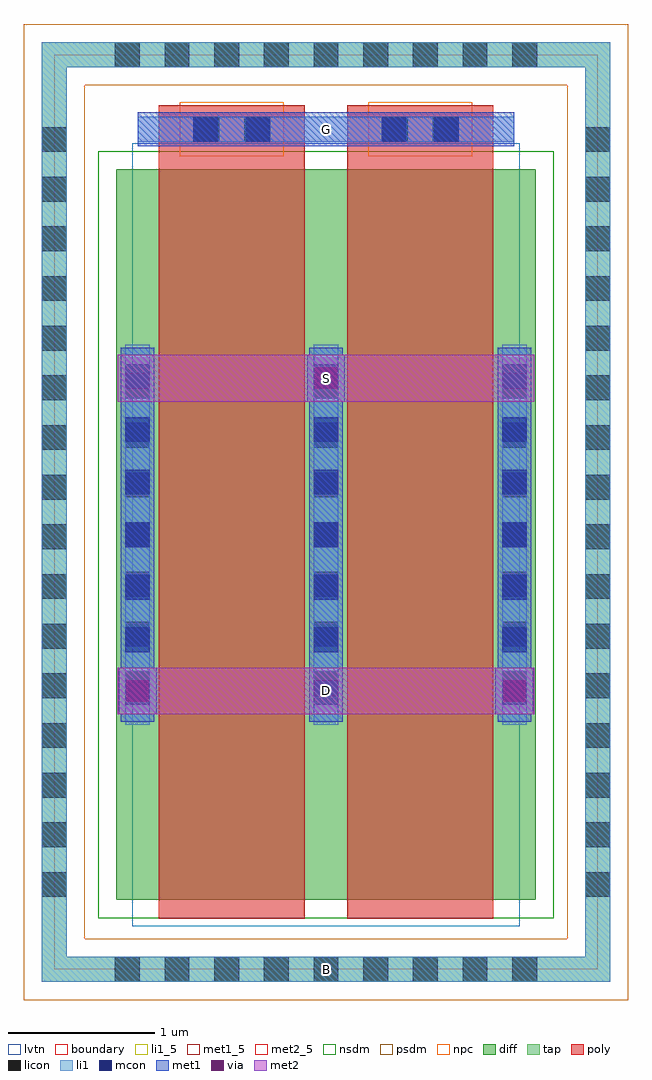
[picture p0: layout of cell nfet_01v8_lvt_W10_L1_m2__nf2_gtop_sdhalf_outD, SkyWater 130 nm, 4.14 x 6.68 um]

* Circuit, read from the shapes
.subckt nfet_01v8_lvt_W10_L1_m2__nf2_gtop_sdhalf_outD B D G S
XM1 S G D B sky130_fd_pr__nfet_01v8_lvt w=5 l=1 m=2
.ends

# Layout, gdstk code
import gdstk
lib = gdstk.Library(unit=1e-6, precision=1e-09)
def R(c, l, rs):  # rectangles x0, y0, x1, y1
    for r in rs: c.add(gdstk.rectangle(r[:2], r[2:], *l))
def A(c, l, x, y, w, h, nx, ny, dx, dy):  # array of equal rectangles
    R(c, l, [(x+i*dx, y+j*dy, x+i*dx+w, y+j*dy+h) for i in range(nx) for j in range(ny)])
diff = (65, 20)
tap = (65, 44)
poly = (66, 20)
licon = (66, 44)
li1_5 = (67, 5)
li1 = (67, 20)
mcon = (67, 44)
met1_5 = (68, 5)
met1 = (68, 20)
via = (68, 44)
met2_5 = (69, 5)
met2 = (69, 20)
nsdm = (93, 44)
psdm = (94, 20)
npc = (95, 20)
lvtn = (125, 44)
boundary = (235, 4)

sky130_fd_pr__nfet_01v8_ = lib.new_cell('sky130_fd_pr__nfet_01v8_lvt_NQ5HXU')
R(sky130_fd_pr__nfet_01v8_, diff, [(-1.435,-2.655,1.435,2.345)])
R(sky130_fd_pr__nfet_01v8_, tap, [(-1.945,-3.215,1.945,-3.045), (-1.945,-3.045,-1.775,3.045), (1.775,-3.045,1.945,3.045), (-1.945,3.045,1.945,3.215)])
R(sky130_fd_pr__nfet_01v8_, poly, [(-1.145,-2.785,-0.145,2.785), (0.145,-2.785,1.145,2.785)])
A(sky130_fd_pr__nfet_01v8_, licon, -1.445, -3.215, 0.17, 0.17, 9, 2, 0.34, 6.26)
A(sky130_fd_pr__nfet_01v8_, licon, -1.945, -2.635, 0.17, 0.17, 1, 16, 0, 0.34)
A(sky130_fd_pr__nfet_01v8_, licon, 1.775, -2.635, 0.17, 0.17, 1, 16, 0, 0.34)
A(sky130_fd_pr__nfet_01v8_, licon, -1.375, -1.26, 0.17, 0.17, 3, 7, 1.29, 0.34)
R(sky130_fd_pr__nfet_01v8_, licon, [(-0.9,2.535,-0.73,2.705), (-0.56,2.535,-0.39,2.705), (0.39,2.535,0.56,2.705), (0.73,2.535,0.9,2.705)])
A(sky130_fd_pr__nfet_01v8_, li1, -1.375, -1.455, 0.17, 2.6, 3, 1, 1.29, 0)
R(sky130_fd_pr__nfet_01v8_, li1, [(-1.945,-3.215,1.945,-3.045), (-1.945,-3.045,-1.775,3.045), (1.775,-3.045,1.945,3.045), (-1.29,2.535,1.29,2.705), (-1.945,3.045,1.945,3.215)])
A(sky130_fd_pr__nfet_01v8_, mcon, -1.375, -1.32, 0.17, 0.17, 3, 7, 1.29, 0.36)
R(sky130_fd_pr__nfet_01v8_, mcon, [(-0.91,2.535,-0.74,2.705), (-0.55,2.535,-0.38,2.705), (0.38,2.535,0.55,2.705), (0.74,2.535,0.91,2.705)])
A(sky130_fd_pr__nfet_01v8_, met1, -1.405, -1.435, 0.23, 2.56, 3, 1, 1.29, 0)
R(sky130_fd_pr__nfet_01v8_, met1, [(-1.125,2.505,-0.165,2.535), (0.165,2.505,1.125,2.535), (-1.29,2.535,1.29,2.705), (-1.125,2.705,-0.165,2.735), (0.165,2.705,1.125,2.735)])
R(sky130_fd_pr__nfet_01v8_, nsdm, [(-1.56,-2.78,1.56,2.47)])
R(sky130_fd_pr__nfet_01v8_, psdm, [(-2.07,-3.34,2.07,-2.92), (-2.07,-2.92,-1.65,2.92), (1.65,-2.92,2.07,2.92), (-2.07,2.92,2.07,3.34)])
R(sky130_fd_pr__nfet_01v8_, npc, [(-1,2.435,-0.29,2.805), (0.29,2.435,1,2.805)])
R(sky130_fd_pr__nfet_01v8_, lvtn, [(-1.325,-2.835,1.325,2.525)])
R(sky130_fd_pr__nfet_01v8_, boundary, [(-1.86,-3.13,1.86,3.13)])
sky130_fd_pr__nfet_01v8_.add(gdstk.Label('B', (0,-3.13), layer=67, texttype=5))
sky130_fd_pr__nfet_01v8_.add(gdstk.Label('D0', (-1.29,-0.155), layer=67, texttype=5))
sky130_fd_pr__nfet_01v8_.add(gdstk.Label('G', (0.645,2.62), layer=67, texttype=5))
sky130_fd_pr__nfet_01v8_.add(gdstk.Label('G', (-0.645,2.62), layer=67, texttype=5))
sky130_fd_pr__nfet_01v8_.add(gdstk.Label('S1', (0,-0.155), layer=67, texttype=5))

nfet_01v8_lvt_w10_l1_m2_ = lib.new_cell('nfet_01v8_lvt_W10_L1_m2__nf2_gtop_sdhalf_outD')
R(nfet_01v8_lvt_w10_l1_m2_, li1_5, [(1.775,-0.085,1.945,0.085)])
R(nfet_01v8_lvt_w10_l1_m2_, li1, [(1.775,-0.085,1.945,0.085)])
R(nfet_01v8_lvt_w10_l1_m2_, met1_5, [(0.57,5.635,3.15,5.865)])
R(nfet_01v8_lvt_w10_l1_m2_, met1, [(0.44,1.745,0.7,2.065), (3.02,1.745,3.28,2.065), (1.73,3.885,1.99,4.205), (0.57,5.635,3.15,5.865)])
R(nfet_01v8_lvt_w10_l1_m2_, via, [(0.495,1.83,0.645,1.98), (3.075,1.83,3.225,1.98), (1.785,3.97,1.935,4.12)])
R(nfet_01v8_lvt_w10_l1_m2_, met2_5, [(0.435,1.745,3.285,2.065), (0.435,3.885,3.285,4.205)])
R(nfet_01v8_lvt_w10_l1_m2_, met2, [(0.435,1.745,3.285,2.065), (0.435,3.885,3.285,4.205)])
nfet_01v8_lvt_w10_l1_m2_.add(gdstk.Reference(sky130_fd_pr__nfet_01v8_, (1.86,3.13)))
nfet_01v8_lvt_w10_l1_m2_.add(gdstk.Label('S', (1.86,4.045), layer=69, texttype=5))
nfet_01v8_lvt_w10_l1_m2_.add(gdstk.Label('D', (1.86,1.905), layer=69, texttype=5))
nfet_01v8_lvt_w10_l1_m2_.add(gdstk.Label('G', (1.86,5.75), layer=68, texttype=5))
nfet_01v8_lvt_w10_l1_m2_.add(gdstk.Label('B', (1.86,0), layer=67, texttype=5))

lib.write_gds('nfet_01v8_lvt_W10_L1_m2__nf2_gtop_sdhalf_outD.gds')
